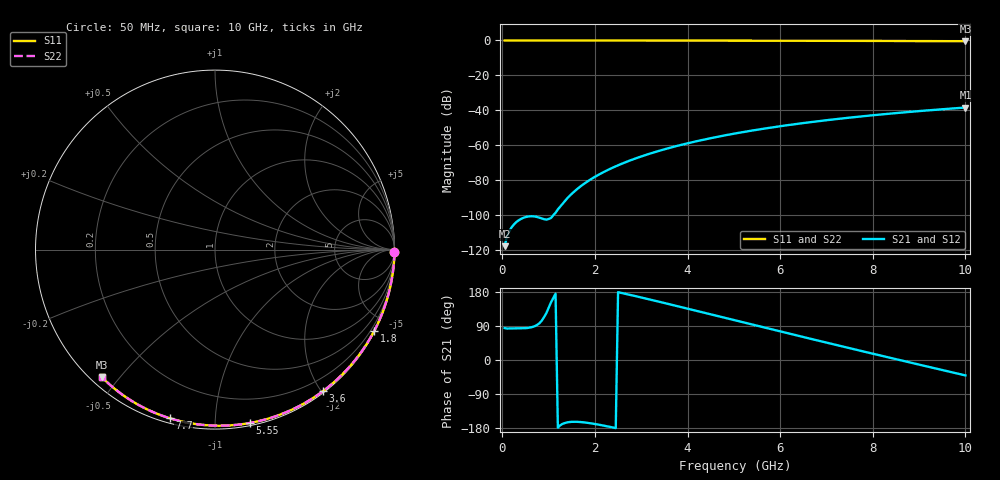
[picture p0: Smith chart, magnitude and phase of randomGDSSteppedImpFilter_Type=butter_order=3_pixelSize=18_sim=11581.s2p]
! freq	dB(S11)	phase(S11)	dB(S12)	phase(S12)
!  dB(S21)	phase(S21)	dB(S22)	phase(S22)
!S-par simulation data
#  GHz  S  DB  R 50
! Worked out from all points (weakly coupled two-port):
!   200 points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, 50 MHz to 10 GHz, reference 50 ohm
!   highest |S21| = -38.38 dB at 10 GHz (marker M1); lowest = -117.7 dB at 50 MHz (marker M2)
!   lowest |S11| = -0.4 dB at 10 GHz (marker M3), VSWR 39.02, Z = 1.54 - j22.5 ohm
!   |S11| at or under -10 dB: nowhere
!   |S22| runs from -0.4 to 0.0 dB; largest |S21 - S12| = 0
!   S11 on the Smith chart (normalised r, x): 50 MHz: open; 1.8 GHz: 0.04, -4.17; 3.6 GHz: 0.02, -2.02; 5.55 GHz: 0.02, -1.22; 7.7 GHz: 0.02, -0.77; 10 GHz: 0.03, -0.45
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0.05  -0.00 -0.8  -117.67 84.3  -117.67 84.3  -0.00 -0.8
0.9  -0.02 -13.6  -102.23 112.8  -102.23 112.8  -0.02 -13.6
1.75  -0.03 -26.2  -82.28 -164.4  -82.28 -164.4  -0.03 -26.2
1.8  -0.03 -26.9  -81.34 -165.2  -81.34 -165.2  -0.03 -26.9
1.85  -0.04 -27.7  -80.46 -166.0  -80.46 -166.0  -0.04 -27.7
1.9  -0.04 -28.4  -79.61 -166.9  -79.61 -166.9  -0.04 -28.4
2.05  -0.04 -30.6  -77.24 -169.9  -77.24 -169.9  -0.04 -30.6
2.25  -0.04 -33.5  -74.45 -174.6  -74.45 -174.6  -0.04 -33.5
2.45  -0.05 -36.4  -71.98 -179.7  -71.98 -179.7  -0.05 -36.4
2.65  -0.05 -39.3  -69.76 174.9  -69.76 174.9  -0.05 -39.3
3  -0.06 -44.3  -66.36 165.0  -66.36 165.0  -0.06 -44.3
3.4  -0.07 -49.9  -63.02 153.4  -63.02 153.4  -0.07 -49.9
3.6  -0.07 -52.7  -61.53 147.5  -61.53 147.5  -0.07 -52.7
4.3  -0.09 -62.3  -57.03 126.5  -57.03 126.5  -0.09 -62.3
5.05  -0.11 -72.2  -53.10 104.0  -53.10 104.0  -0.11 -72.2
5.55  -0.13 -78.7  -50.87 89.0  -50.87 89.0  -0.13 -78.7
6.1  -0.15 -85.7  -48.69 72.5  -48.69 72.5  -0.15 -85.7
6.7  -0.18 -93.1  -46.58 54.7  -46.58 54.7  -0.18 -93.1
7.7  -0.24 -105.1  -43.58 25.3  -43.58 25.3  -0.24 -105.1
8.35  -0.29 -112.7  -41.91 6.5  -41.91 6.5  -0.29 -112.7
9.15  -0.36 -121.9  -40.08 -16.5  -40.08 -16.5  -0.36 -121.9
10  -0.45 -131.5  -38.38 -40.7  -38.38 -40.7  -0.45 -131.5
